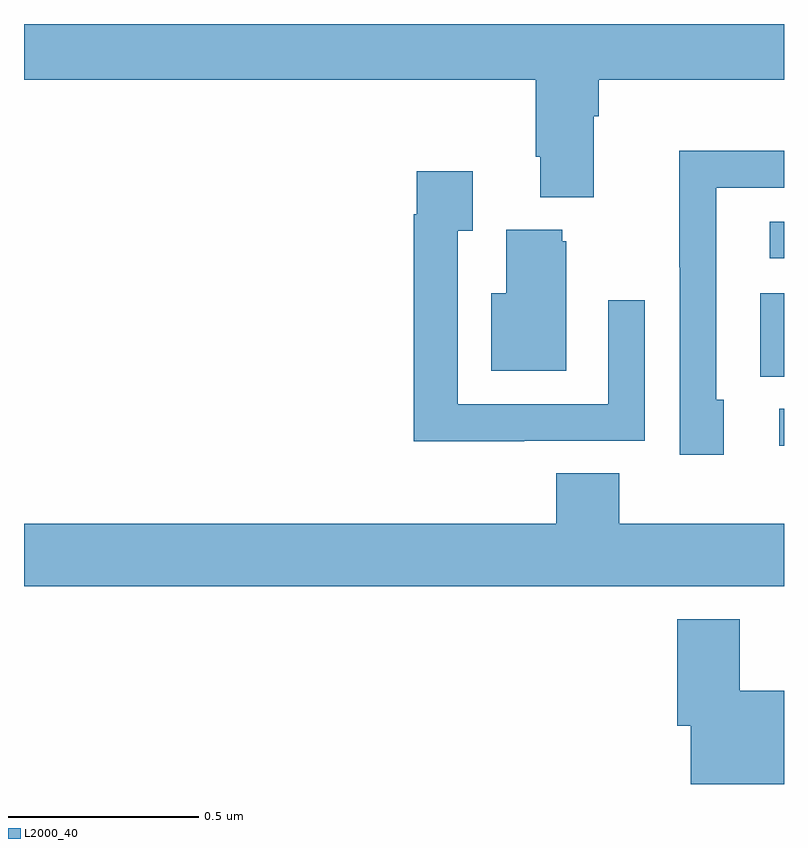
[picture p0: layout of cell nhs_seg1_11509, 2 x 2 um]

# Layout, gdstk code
import gdstk
lib = gdstk.Library(unit=1e-6, precision=1e-09)
def R(c, l, rs):  # rectangles x0, y0, x1, y1
    for r in rs: c.add(gdstk.rectangle(r[:2], r[2:], *l))
def P(c, l, *ps):  # polygons
    for p in ps: c.add(gdstk.Polygon(p, *l))
L2000_40 = (2000, 40)

nhs_seg1_11509 = lib.new_cell('nhs_seg1_11509')
R(nhs_seg1_11509, L2000_40, [(255.987,564.089,256,564.186), (255.938,564.271,256,564.49), (255.963,564.582,256,564.678)])
P(nhs_seg1_11509, L2000_40, [(255.499,564.956),(255.512,564.956),(255.512,565.052),(256,565.052),(256,565.199),(254,565.199),(254,565.052),(255.347,565.052),(255.347,564.85),(255.359,564.85),(255.359,564.743),(255.499,564.743)],
  [(255.841,564.21),(255.822,564.21),(255.822,564.768),(256,564.768),(256,564.866),(255.724,564.866),(255.724,564.559),(255.726,564.559),(255.726,564.066),(255.841,564.066)],
  [(255.317,564.102),(255.633,564.102),(255.633,564.472),(255.537,564.472),(255.537,564.198),(255.141,564.198),(255.141,564.655),(255.181,564.655),(255.181,564.811),(255.033,564.811),(255.033,564.698),(255.025,564.698),(255.025,564.101),(255.317,564.101)],
  [(255.427,564.627),(255.416,564.627),(255.416,564.658),(255.269,564.658),(255.269,564.49),(255.23,564.49),(255.23,564.287),(255.427,564.287)],
  [(256,563.884),(255.566,563.884),(255.566,564.017),(255.401,564.017),(255.401,563.884),(254,563.884),(254,563.72),(256,563.72)],
  [(256,563.445),(255.883,563.445),(255.883,563.632),(255.719,563.632),(255.719,563.352),(255.755,563.352),(255.755,563.199),(256,563.199)])

lib.write_gds('nhs_seg1_11509.gds')
